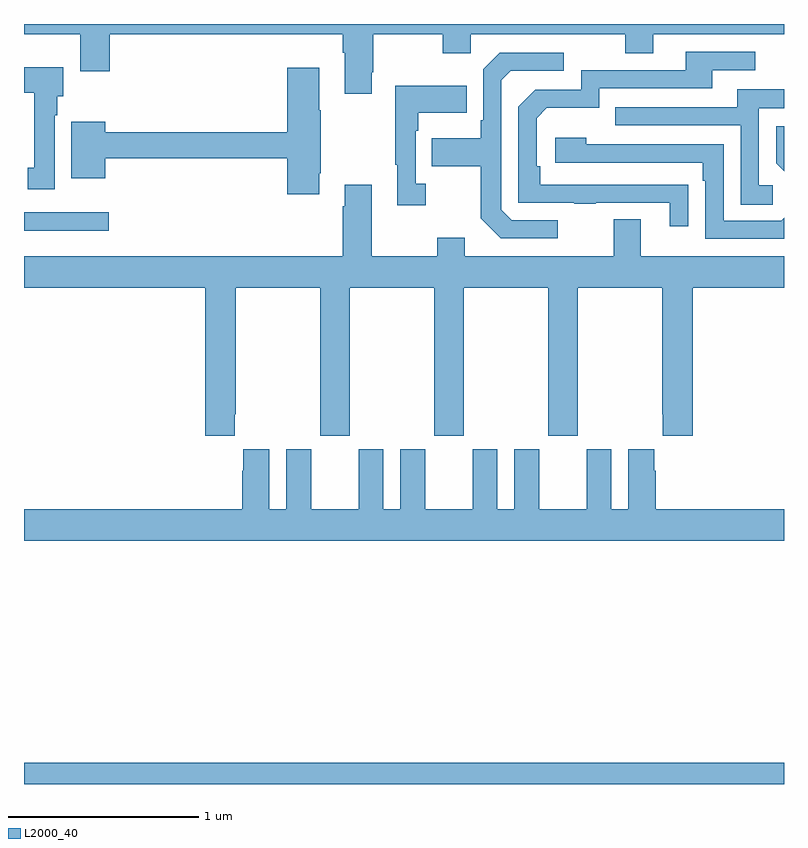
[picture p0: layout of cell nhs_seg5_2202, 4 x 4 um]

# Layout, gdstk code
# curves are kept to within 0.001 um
import gdstk
lib = gdstk.Library(unit=1e-6, precision=1e-09)
def R(c, l, rs):  # rectangles x0, y0, x1, y1
    for r in rs: c.add(gdstk.rectangle(r[:2], r[2:], *l))
def P(c, l, *ps):  # polygons
    for p in ps: c.add(gdstk.Polygon(p, *l))
L2000_40 = (2000, 40)

nhs_seg5_2202 = lib.new_cell('nhs_seg5_2202')
R(nhs_seg5_2202, L2000_40, [(239,868.799,243,868.912), (239,871.712,239.446,871.809)])
P(nhs_seg5_2202, L2000_40, [(240.829,872.545),(240.837,872.545),(240.837,872.744),(241.204,872.744),(241.204,872.645),(241.35,872.645),(241.35,872.744),(242.164,872.744),(242.164,872.645),(242.311,872.645),(242.311,872.744),(243,872.744),(243,872.799),(239,872.799),(239,872.744),(239.297,872.744),(239.297,872.55),(239.45,872.55),(239.45,872.744),(240.677,872.744),(240.677,872.648),(240.689,872.648),(240.689,872.433),(240.829,872.433)],
  [(242.495,871.952),(241.718,871.953),(241.718,872.05),(241.698,872.05),(241.698,872.304),(241.751,872.357),(242.028,872.357),(242.028,872.46),(242.623,872.46),(242.623,872.556),(242.848,872.556),(242.848,872.652),(242.483,872.652),(242.483,872.556),(241.932,872.556),(241.932,872.454),(241.692,872.454),(241.602,872.364),(241.602,871.857),(241.897,871.857),(241.897,871.852),(242.009,871.852),(242.009,871.857),(242.399,871.857),(242.399,871.734),(242.495,871.734)],
  [(241.81,871.767),(241.566,871.767),(241.512,871.821),(241.512,872.502),(241.563,872.553),(241.84,872.553),(241.84,872.649),(241.503,872.649),(241.416,872.562),(241.416,872.293),(241.404,872.293),(241.404,872.197),(241.147,872.197),(241.147,872.05),(241.404,872.05),(241.404,871.777),(241.509,871.671),(241.81,871.671)],
  [(239.161,872.318),(239.176,872.318),(239.176,872.418),(239.206,872.418),(239.206,872.572),(239,872.572),(239,872.438),(239.054,872.438),(239.054,872.042),(239.021,872.042),(239.021,871.929),(239.161,871.929)],
  [(240.553,872.014),(240.561,872.014),(240.561,872.345),(240.553,872.345),(240.553,872.569),(240.386,872.569),(240.386,872.228),(239.428,872.228),(239.428,872.284),(239.249,872.284),(239.249,871.988),(239.428,871.988),(239.428,872.092),(240.386,872.092),(240.386,871.902),(240.553,871.902)],
  [(241.114,871.958),(241.062,871.958),(241.062,872.237),(241.075,872.237),(241.075,872.333),(241.331,872.333),(241.331,872.473),(240.954,872.473),(240.954,872.057),(240.965,872.057),(240.965,871.845),(241.114,871.845)],
  [(242.941,871.95),(242.868,871.95),(242.868,872.355),(243,872.355),(243,872.455),(242.753,872.455),(242.753,872.361),(242.113,872.361),(242.113,872.265),(242.772,872.265),(242.772,871.849),(242.941,871.849)],
  [(243,872.26),(242.958,872.26),(242.958,872.066),(243,872.024)],
  [(243,871.779),(242.985,871.764),(242.682,871.764),(242.682,872.166),(241.958,872.166),(241.958,872.2),(241.797,872.2),(241.797,872.07),(242.573,872.07),(242.573,871.973),(242.586,871.973),(242.586,871.668),(243,871.668)],
  [(239,871.412),(239.954,871.412),(239.954,870.633),(240.109,870.633),(240.109,870.745),(240.114,870.745),(240.114,871.412),(240.559,871.412),(240.559,870.633),(240.714,870.633),(240.714,871.412),(241.159,871.412),(241.159,870.633),(241.314,870.633),(241.314,871.412),(241.759,871.412),(241.759,870.633),(241.914,870.633),(241.914,871.412),(242.359,871.412),(242.359,870.745),(242.363,870.745),(242.363,870.633),(242.519,870.633),(242.519,871.412),(243,871.412),(243,871.576),(242.245,871.576),(242.245,871.771),(242.105,871.771),(242.105,871.576),(241.321,871.576),(241.321,871.675),(241.174,871.675),(241.174,871.576),(240.829,871.576),(240.829,871.954),(240.689,871.954),(240.689,871.841),(240.677,871.841),(240.677,871.576),(239,871.576)],
  [(243,870.244),(242.324,870.244),(242.324,870.449),(242.317,870.449),(242.317,870.562),(242.18,870.562),(242.18,870.244),(242.092,870.244),(242.092,870.562),(241.961,870.562),(241.961,870.244),(241.711,870.244),(241.711,870.562),(241.58,870.562),(241.58,870.244),(241.492,870.244),(241.492,870.562),(241.361,870.562),(241.361,870.244),(241.111,870.244),(241.111,870.562),(240.98,870.562),(240.98,870.244),(240.892,870.244),(240.892,870.562),(240.761,870.562),(240.761,870.244),(240.511,870.244),(240.511,870.562),(240.38,870.562),(240.38,870.244),(240.292,870.244),(240.292,870.562),(240.155,870.562),(240.155,870.449),(240.149,870.449),(240.149,870.244),(239,870.244),(239,870.08),(243,870.08)])

lib.write_gds('nhs_seg5_2202.gds')
